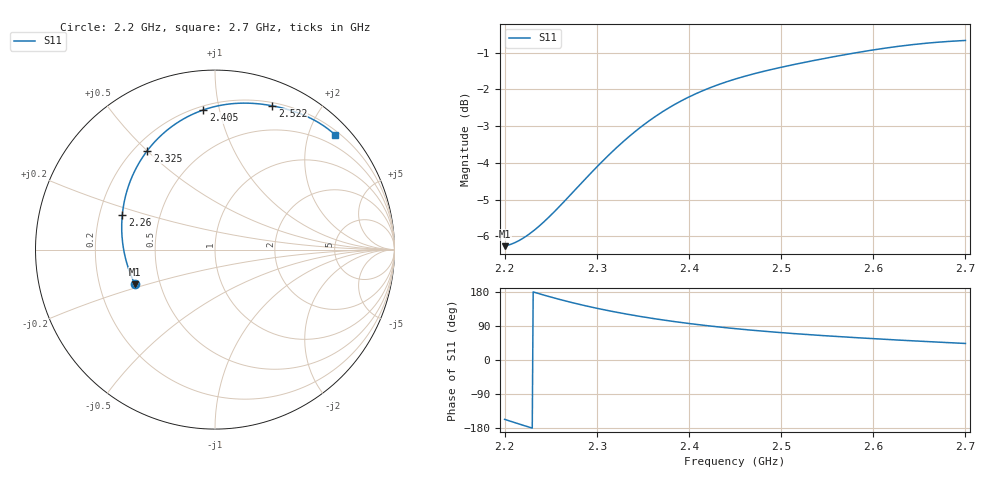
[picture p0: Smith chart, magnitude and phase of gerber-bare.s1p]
! PRELIMINARY bare PCB unless shell_eps > 0; see README.md
! L220 output ($1N324); all Gerber copper, components omitted (C216/L220/C217 not populated)
# Hz S RI R 50
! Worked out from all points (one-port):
!   501 points, 2.2 GHz to 2.7 GHz, reference 50 ohm
!   lowest |S11| = -6.3 dB at 2.2 GHz (marker M1), VSWR 2.89, Z = 17.9 - j9.05 ohm
!   |S11| at or under -10 dB: nowhere
!   S11 on the Smith chart (normalised r, x): 2.2 GHz: 0.36, -0.18; 2.26 GHz: 0.30, +0.16; 2.325 GHz: 0.25, +0.50; 2.405 GHz: 0.22, +0.89; 2.522 GHz: 0.23, +1.45; 2.7 GHz: 0.28, +2.47
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2.2e9  -0.4463 -0.1926
2.202e9  -0.4521 -0.1804
2.216e9  -0.4861 -0.0931
2.23e9  -0.5085 -0.00277
2.245e9  -0.5193 0.0951
2.26e9  -0.5167 0.1918
2.263e9  -0.5147 0.2108
2.277e9  -0.4988 0.2973
2.292e9  -0.4709 0.3847
2.309e9  -0.4275 0.4753
2.325e9  -0.3774 0.551
2.341e9  -0.3205 0.6166
2.356e9  -0.2629 0.6686
2.372e9  -0.1988 0.7141
2.388e9  -0.1339 0.7498
2.405e9  -0.0655 0.778
2.427e9  0.0196 0.8015
2.45e9  0.1028 0.8136
2.465e9  0.1532 0.816
2.481e9  0.2038 0.8151
2.513e9  0.2954 0.8054
2.522e9  0.3191 0.8012
2.548e9  0.3837 0.7867
2.575e9  0.4454 0.768
2.607e9  0.5125 0.7413
2.638e9  0.5715 0.7109
2.671e9  0.627 0.6741
2.7e9  0.6693 0.6393
